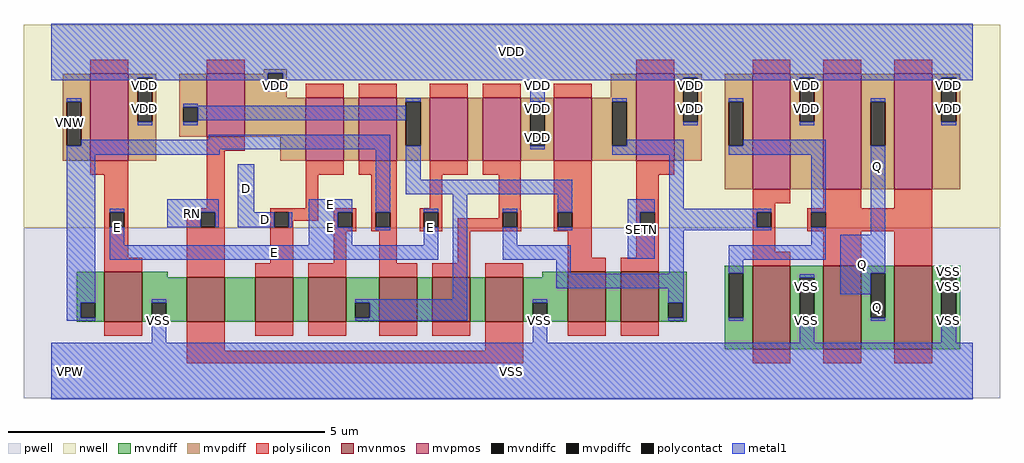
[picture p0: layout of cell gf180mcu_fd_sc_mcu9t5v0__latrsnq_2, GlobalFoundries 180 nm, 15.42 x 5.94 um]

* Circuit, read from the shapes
.subckt gf180mcu_fd_sc_mcu9t5v0__latrsnq_2 D E RN SETN Q VDD VNW VPW VSS
XM1 VSS E n1 VPW nfet_06v0 w=0.79u l=0.6u
XM2 n2 RN VSS VPW nfet_06v0 w=0.7u l=0.6u
XM3 n3 D n2 VPW nfet_06v0 w=0.7u l=0.6u
XM4 n4 E n3 VPW nfet_06v0 w=0.7u l=0.6u
XM5 n5 n1 n4 VPW nfet_06v0 w=0.7u l=0.6u
XM6 n6 n7 n5 VPW nfet_06v0 w=0.7u l=0.6u
XM7 VSS RN n6 VPW nfet_06v0 w=0.7u l=0.6u
XM8 n8 n4 VSS VPW nfet_06v0 w=0.79u l=0.6u
XM9 n7 SETN n8 VPW nfet_06v0 w=0.79u l=0.6u
XM10 VSS n7 n9 VPW nfet_06v0 w=1.32u l=0.6u
XM11 Q n9 VSS VPW nfet_06v0 w=1.32u l=0.6u m=2
XM12 VDD E n1 VNW pfet_06v0 w=1.38u l=0.6u
XM13 VDD RN n4 VNW pfet_06v0 w=1u l=0.6u
XM14 n10 D VDD VNW pfet_06v0 w=1u l=0.6u
XM15 n4 n1 n10 VNW pfet_06v0 w=1u l=0.6u
XM16 n11 E n4 VNW pfet_06v0 w=1u l=0.6u
XM17 VDD n7 n11 VNW pfet_06v0 w=1u l=0.6u
XM18 n7 n4 VDD VNW pfet_06v0 w=1u l=0.6u
XM19 VDD SETN n7 VNW pfet_06v0 w=1.38u l=0.6u
XM20 VDD n7 n9 VNW pfet_06v0 w=1.83u l=0.6u
XM21 Q n9 VDD VNW pfet_06v0 w=1.83u l=0.6u m=2
.ends

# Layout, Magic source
magic
tech gf180mcuD
magscale 1 10
<< nwell >>
rect -86 453 2998 1094
<< pwell >>
rect -86 -86 2998 453
<< mvnmos >>
rect 168 156 288 314
rect 428 156 548 296
rect 644 156 764 296
rect 812 156 932 296
rect 1036 156 1156 296
rect 1204 156 1324 296
rect 1372 156 1492 296
rect 1632 156 1752 314
rect 1800 156 1920 314
rect 2216 69 2336 333
rect 2440 69 2560 333
rect 2664 69 2784 333
<< mvpmos >>
rect 124 664 244 940
rect 492 740 612 940
rect 804 664 924 864
rect 972 664 1092 864
rect 1196 664 1316 864
rect 1364 664 1484 864
rect 1588 664 1708 864
rect 1848 664 1968 940
rect 2216 574 2336 940
rect 2440 574 2560 940
rect 2664 574 2784 940
<< mvndiff >>
rect 80 215 168 314
rect 80 169 93 215
rect 139 169 168 215
rect 80 156 168 169
rect 288 296 368 314
rect 1552 296 1632 314
rect 288 215 428 296
rect 288 169 317 215
rect 363 169 428 215
rect 288 156 428 169
rect 548 156 644 296
rect 764 156 812 296
rect 932 215 1036 296
rect 932 169 961 215
rect 1007 169 1036 215
rect 932 156 1036 169
rect 1156 156 1204 296
rect 1324 156 1372 296
rect 1492 215 1632 296
rect 1492 169 1521 215
rect 1567 169 1632 215
rect 1492 156 1632 169
rect 1752 156 1800 314
rect 1920 215 2008 314
rect 1920 169 1949 215
rect 1995 169 2008 215
rect 1920 156 2008 169
rect 2128 309 2216 333
rect 2128 169 2141 309
rect 2187 169 2216 309
rect 2128 69 2216 169
rect 2336 295 2440 333
rect 2336 155 2365 295
rect 2411 155 2440 295
rect 2336 69 2440 155
rect 2560 309 2664 333
rect 2560 169 2589 309
rect 2635 169 2664 309
rect 2560 69 2664 169
rect 2784 309 2872 333
rect 2784 169 2813 309
rect 2859 169 2872 309
rect 2784 69 2872 169
<< mvpdiff >>
rect 672 941 744 954
rect 672 940 685 941
rect 36 851 124 940
rect 36 711 49 851
rect 95 711 124 851
rect 36 664 124 711
rect 244 927 332 940
rect 244 787 273 927
rect 319 787 332 927
rect 244 664 332 787
rect 404 833 492 940
rect 404 787 417 833
rect 463 787 492 833
rect 404 740 492 787
rect 612 895 685 940
rect 731 895 744 941
rect 612 864 744 895
rect 1768 864 1848 940
rect 612 740 804 864
rect 724 664 804 740
rect 924 664 972 864
rect 1092 851 1196 864
rect 1092 711 1121 851
rect 1167 711 1196 851
rect 1092 664 1196 711
rect 1316 664 1364 864
rect 1484 851 1588 864
rect 1484 711 1513 851
rect 1559 711 1588 851
rect 1484 664 1588 711
rect 1708 851 1848 864
rect 1708 711 1773 851
rect 1819 711 1848 851
rect 1708 664 1848 711
rect 1968 927 2056 940
rect 1968 787 1997 927
rect 2043 787 2056 927
rect 1968 664 2056 787
rect 2128 851 2216 940
rect 2128 711 2141 851
rect 2187 711 2216 851
rect 2128 574 2216 711
rect 2336 927 2440 940
rect 2336 787 2365 927
rect 2411 787 2440 927
rect 2336 574 2440 787
rect 2560 851 2664 940
rect 2560 711 2589 851
rect 2635 711 2664 851
rect 2560 574 2664 711
rect 2784 927 2872 940
rect 2784 787 2813 927
rect 2859 787 2872 927
rect 2784 574 2872 787
<< mvndiffc >>
rect 93 169 139 215
rect 317 169 363 215
rect 961 169 1007 215
rect 1521 169 1567 215
rect 1949 169 1995 215
rect 2141 169 2187 309
rect 2365 155 2411 295
rect 2589 169 2635 309
rect 2813 169 2859 309
<< mvpdiffc >>
rect 49 711 95 851
rect 273 787 319 927
rect 417 787 463 833
rect 685 895 731 941
rect 1121 711 1167 851
rect 1513 711 1559 851
rect 1773 711 1819 851
rect 1997 787 2043 927
rect 2141 711 2187 851
rect 2365 787 2411 927
rect 2589 711 2635 851
rect 2813 787 2859 927
<< polysilicon >>
rect 124 940 244 984
rect 492 940 612 984
rect 1848 940 1968 984
rect 2216 940 2336 984
rect 2440 940 2560 984
rect 2664 940 2784 984
rect 804 864 924 908
rect 972 864 1092 908
rect 1196 864 1316 908
rect 1364 864 1484 908
rect 1588 864 1708 908
rect 492 696 612 740
rect 124 620 244 664
rect 168 501 244 620
rect 492 514 548 696
rect 804 620 924 664
rect 972 620 1092 664
rect 804 514 844 620
rect 168 455 185 501
rect 231 455 244 501
rect 168 358 244 455
rect 428 501 548 514
rect 428 455 473 501
rect 519 455 548 501
rect 168 314 288 358
rect 428 296 548 455
rect 692 501 844 514
rect 692 455 705 501
rect 751 474 844 501
rect 892 501 964 514
rect 751 455 764 474
rect 692 340 764 455
rect 892 455 905 501
rect 951 455 964 501
rect 892 442 964 455
rect 1012 501 1092 620
rect 1196 620 1316 664
rect 1364 620 1484 664
rect 1196 514 1236 620
rect 1012 455 1025 501
rect 1071 455 1092 501
rect 1012 442 1092 455
rect 1164 501 1236 514
rect 1164 455 1177 501
rect 1223 455 1236 501
rect 1414 508 1484 620
rect 1414 501 1486 508
rect 1414 482 1427 501
rect 1164 442 1236 455
rect 1284 455 1427 482
rect 1473 455 1486 501
rect 1284 442 1486 455
rect 1588 501 1708 664
rect 1588 455 1601 501
rect 1647 455 1708 501
rect 1588 442 1708 455
rect 892 340 932 442
rect 644 296 764 340
rect 812 296 932 340
rect 1036 340 1092 442
rect 1284 340 1324 442
rect 1632 358 1708 442
rect 1848 620 1968 664
rect 1848 501 1920 620
rect 1848 455 1861 501
rect 1907 455 1920 501
rect 1848 358 1920 455
rect 1036 296 1156 340
rect 1204 296 1324 340
rect 1372 296 1492 340
rect 1632 314 1752 358
rect 1800 314 1920 358
rect 2216 530 2336 574
rect 2216 501 2288 530
rect 2440 514 2560 574
rect 2664 514 2784 574
rect 2216 455 2229 501
rect 2275 455 2288 501
rect 2216 377 2288 455
rect 2389 501 2784 514
rect 2389 455 2402 501
rect 2448 455 2784 501
rect 2389 442 2784 455
rect 2216 333 2336 377
rect 2440 333 2560 442
rect 2664 333 2784 442
rect 168 112 288 156
rect 428 112 548 156
rect 644 112 764 156
rect 812 112 932 156
rect 1036 112 1156 156
rect 1204 112 1324 156
rect 429 64 548 112
rect 1372 64 1492 156
rect 1632 112 1752 156
rect 1800 112 1920 156
rect 429 24 1492 64
rect 2216 25 2336 69
rect 2440 25 2560 69
rect 2664 25 2784 69
<< polycontact >>
rect 185 455 231 501
rect 473 455 519 501
rect 705 455 751 501
rect 905 455 951 501
rect 1025 455 1071 501
rect 1177 455 1223 501
rect 1427 455 1473 501
rect 1601 455 1647 501
rect 1861 455 1907 501
rect 2229 455 2275 501
rect 2402 455 2448 501
<< metal1 >>
rect 0 941 2912 1098
rect 0 927 685 941
rect 0 918 273 927
rect 49 851 95 862
rect 319 918 685 927
rect 731 927 2912 941
rect 731 918 1997 927
rect 685 884 731 895
rect 1121 851 1167 862
rect 273 776 319 787
rect 417 838 463 844
rect 417 833 1121 838
rect 463 792 1121 833
rect 417 776 463 787
rect 498 730 1071 746
rect 95 711 1071 730
rect 49 700 1071 711
rect 49 684 533 700
rect 49 215 139 684
rect 185 501 231 512
rect 366 501 530 542
rect 366 455 473 501
rect 519 455 530 501
rect 590 501 642 654
rect 814 501 951 542
rect 590 455 705 501
rect 751 455 762 501
rect 814 455 905 501
rect 185 398 231 455
rect 814 398 951 455
rect 1025 501 1071 700
rect 1121 604 1167 711
rect 1513 851 1559 918
rect 1513 700 1559 711
rect 1773 851 1819 862
rect 2043 918 2365 927
rect 1997 776 2043 787
rect 2141 851 2187 862
rect 1819 711 1999 730
rect 1773 684 1999 711
rect 2411 918 2813 927
rect 2365 776 2411 787
rect 2589 851 2635 862
rect 2187 711 2448 730
rect 2141 684 2448 711
rect 1121 558 1647 604
rect 1025 444 1071 455
rect 1177 501 1223 512
rect 1177 398 1223 455
rect 185 352 1223 398
rect 1269 226 1315 558
rect 1427 501 1473 512
rect 1427 398 1473 455
rect 1601 501 1647 558
rect 1601 444 1647 455
rect 1822 501 1907 542
rect 1822 455 1861 501
rect 1427 352 1642 398
rect 1822 354 1907 455
rect 1953 512 1999 684
rect 1953 501 2275 512
rect 1953 455 2229 501
rect 1953 444 2275 455
rect 2402 501 2448 684
rect 1596 308 1642 352
rect 1953 308 1999 444
rect 2402 398 2448 455
rect 2859 918 2912 927
rect 2813 776 2859 787
rect 2589 430 2635 711
rect 1596 262 1999 308
rect 49 169 93 215
rect 49 158 139 169
rect 317 215 363 226
rect 317 90 363 169
rect 961 215 1315 226
rect 1007 169 1315 215
rect 961 158 1315 169
rect 1521 215 1567 226
rect 1521 90 1567 169
rect 1949 215 1999 262
rect 1995 169 1999 215
rect 1949 158 1999 169
rect 2141 352 2448 398
rect 2141 309 2187 352
rect 2494 309 2635 430
rect 2141 158 2187 169
rect 2365 295 2411 306
rect 2494 242 2589 309
rect 2589 158 2635 169
rect 2813 309 2859 320
rect 2365 90 2411 155
rect 2813 90 2859 169
rect 0 -90 2912 90
<< labels >>
flabel metal1 s 590 501 642 654 0 FreeSans 200 0 0 0 D
port 1 nsew default input
flabel metal1 s 814 512 951 542 0 FreeSans 200 0 0 0 E
port 2 nsew clock input
flabel metal1 s 2589 430 2635 862 0 FreeSans 200 0 0 0 Q
port 5 nsew default output
flabel metal1 s 366 455 530 542 0 FreeSans 200 0 0 0 RN
port 3 nsew default input
flabel metal1 s 1822 354 1907 542 0 FreeSans 200 0 0 0 SETN
port 4 nsew default input
flabel metal1 s 0 918 2912 1098 0 FreeSans 200 0 0 0 VDD
port 6 nsew power bidirectional abutment
flabel metal1 s 2813 306 2859 320 0 FreeSans 200 0 0 0 VSS
port 9 nsew ground bidirectional abutment
flabel nwell s 10 734 110 834 0 FreeSans 400 0 0 0 VNW
port 7 nsew power bidirectional
flabel pwell s 10 -50 110 50 0 FreeSans 400 0 0 0 VPW
port 8 nsew ground bidirectional
rlabel metal1 s 590 455 762 501 1 D
port 1 nsew default input
rlabel metal1 s 1177 398 1223 512 1 E
port 2 nsew clock input
rlabel metal1 s 814 398 951 512 1 E
port 2 nsew clock input
rlabel metal1 s 185 398 231 512 1 E
port 2 nsew clock input
rlabel metal1 s 185 352 1223 398 1 E
port 2 nsew clock input
rlabel metal1 s 2494 242 2635 430 1 Q
port 5 nsew default output
rlabel metal1 s 2589 158 2635 242 1 Q
port 5 nsew default output
rlabel metal1 s 2813 884 2859 918 1 VDD
port 6 nsew power bidirectional abutment
rlabel metal1 s 2365 884 2411 918 1 VDD
port 6 nsew power bidirectional abutment
rlabel metal1 s 1997 884 2043 918 1 VDD
port 6 nsew power bidirectional abutment
rlabel metal1 s 1513 884 1559 918 1 VDD
port 6 nsew power bidirectional abutment
rlabel metal1 s 685 884 731 918 1 VDD
port 6 nsew power bidirectional abutment
rlabel metal1 s 273 884 319 918 1 VDD
port 6 nsew power bidirectional abutment
rlabel metal1 s 2813 776 2859 884 1 VDD
port 6 nsew power bidirectional abutment
rlabel metal1 s 2365 776 2411 884 1 VDD
port 6 nsew power bidirectional abutment
rlabel metal1 s 1997 776 2043 884 1 VDD
port 6 nsew power bidirectional abutment
rlabel metal1 s 1513 776 1559 884 1 VDD
port 6 nsew power bidirectional abutment
rlabel metal1 s 273 776 319 884 1 VDD
port 6 nsew power bidirectional abutment
rlabel metal1 s 1513 700 1559 776 1 VDD
port 6 nsew power bidirectional abutment
rlabel metal1 s 2813 226 2859 306 1 VSS
port 9 nsew ground bidirectional abutment
rlabel metal1 s 2365 226 2411 306 1 VSS
port 9 nsew ground bidirectional abutment
rlabel metal1 s 2813 90 2859 226 1 VSS
port 9 nsew ground bidirectional abutment
rlabel metal1 s 2365 90 2411 226 1 VSS
port 9 nsew ground bidirectional abutment
rlabel metal1 s 1521 90 1567 226 1 VSS
port 9 nsew ground bidirectional abutment
rlabel metal1 s 317 90 363 226 1 VSS
port 9 nsew ground bidirectional abutment
rlabel metal1 s 0 -90 2912 90 1 VSS
port 9 nsew ground bidirectional abutment
<< properties >>
string FIXED_BBOX 0 0 2912 1008
string GDS_END 1039286
string GDS_FILE $PDKPATH/libs.ref/gf180mcu_fd_sc_mcu9t5v0/gds/gf180mcu_fd_sc_mcu9t5v0.gds
string GDS_START 1031748
string LEFclass core
string LEFsite GF018hv5v_green_sc9
string LEFsymmetry X Y
<< end >>
